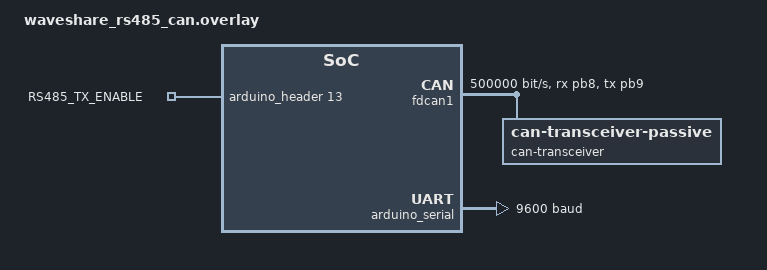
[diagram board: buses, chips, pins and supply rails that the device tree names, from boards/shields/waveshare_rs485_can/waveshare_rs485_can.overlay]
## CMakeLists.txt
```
cmake_minimum_required(VERSION 3.20.0)

# Sucht das Zephyr-System in der West-Arbeitsumgebung
find_package(Zephyr REQUIRED HINTS $ENV{ZEPHYR_BASE})
project(my_freestanding_uds_app)

# Quellcodedateien direkt im Projekt-Wurzelverzeichnis einbinden
target_sources(app PRIVATE 
    src/main.c 
    src/app_uds_impl.c
)
```

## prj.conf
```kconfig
# ====================================================================
# HARDWARE & INTERNE GERÄTE-TREIBER (STM32G474)
# ====================================================================
CONFIG_GPIO=y
CONFIG_CAN=y
CONFIG_REBOOT=y

# ====================================================================
# FLASH-SPEICHER & SPEICHERABSTRAKTION (Firmware-Update via 0x36)
# ====================================================================
CONFIG_FLASH=y
CONFIG_FLASH_PAGE_LAYOUT=y
CONFIG_FLASH_MAP=y

# ====================================================================
# MCUBOOT BOOTLOADER-INTEGRATION & IMAGE-MANAGEMENT
# ====================================================================
CONFIG_BOOTLOADER_MCUBOOT=y
CONFIG_IMG_MANAGER=y
CONFIG_MCUBOOT_IMG_MANAGER=y
CONFIG_STREAM_FLASH=y
CONFIG_MCUBOOT_BOOTUTIL_LIB=y

# ====================================================================
# KEY-VALUE STORAGE / NVS (Manipulationssicherer Lockout via KVSS)
# ====================================================================
CONFIG_FILE_SYSTEM=y
CONFIG_NVS=y

# ====================================================================
# UDS-SERVER MODUL INITIALISIERUNG & PARAMETER (Treiber-Kconfig)
# ====================================================================
CONFIG_UDS_SERVER=y
CONFIG_UDS_CAN_RX_ID=0x7E0
CONFIG_UDS_CAN_TX_ID=0x7E8
CONFIG_UDS_S3_TIMEOUT_MS=5000
CONFIG_ISOTP_RX_BUF_COUNT=4

# ====================================================================
# KERNEL LOGGING & DIAGNOSE (ST-Link Virtueller COM-Port)
# ====================================================================
CONFIG_LOG=y
CONFIG_CAN_LOG_LEVEL_DBG=y
```

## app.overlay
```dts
/ {
	chosen {
		zephyr,entropy = &rng;
	};
};

&rng {
	status = "okay";
};
```

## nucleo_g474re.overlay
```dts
/ {
    chosen {
        /* Weist dem zephyr-uds Modul den CAN-Controller zu */
        zephyr,canbus = &fdcan1;
    };
};

/* don't attach shield waveshare_rs485_can to nucleo G474re -> use jumper wires to connect PA11 and PA12! */

&pinctrl {
    /* FDCAN1 auf PB8 und PB9 legen (Alternate Function 9) */
    fdcan1_rx_pb8: fdcan1_rx_pb8 {
        pinmux = <STM32_PINMUX('B', 8, AF9)>; /* PB8 = FDCAN1_RX (D15) */
    };

    fdcan1_tx_pb9: fdcan1_tx_pb9 {
        pinmux = <STM32_PINMUX('B', 9, AF9)>; /* PB9 = FDCAN1_TX (D14) */
    };
};

&fdcan1{
    status = "okay";

    /* Zuweisung der modifizierten Pins */
    pinctrl-0 = <&fdcan1_tx_pb9 &fdcan1_rx_pb8>;
    pinctrl-names = "default";

    bus-speed = <500000>;

    /* Falls Sie kein CAN-FD nutzen, deaktivieren Sie die höhere Datenrate.
     * Sollten Sie CAN-FD nutzen wollen, aktivieren Sie diese Zeile: */
    /* bus-speed-data = <2000000>; */

    /* Optionale feine Bit-Timing-Einstellungen für das SN65HVD230 des Waveshare-Shields.
       Der Zephyr-Treiber berechnet diese Werte anhand des internen Taktes (meist 150MHz oder 170MHz beim G4)
       automatisch. Falls Sie Sample-Points manuell erzwingen müssen, nutzen Sie diese Eigenschaften: */
    sample-point = <800>; /* 80.0% Sample Point (Standard für CANopen/Automotive) */
};
```

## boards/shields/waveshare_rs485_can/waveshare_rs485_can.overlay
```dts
/* zephyr-uds-app/app/boards/shields/waveshare_rs485_can/waveshare_rs485_can.overlay */

/ {
    chosen {
        /* Weist dem zephyr-uds Modul den CAN-Controller zu */
        zephyr,canbus = &fdcan1;
    };

    /*
     * Kapselung des RS485-Richtungspins in einem separaten logischen Knoten,
     * um Konflikte mit dem st,stm32-usart Treiber-Binding zu vermeiden.
     */
    rs485_hardware_control {
        compatible = "gpio-keys";
        rs485_de: rs485_direction_enable {
            gpios = <&arduino_header 13 GPIO_ACTIVE_HIGH>; /* D7 (PA8) auf dem Nucleo */
            label = "RS485_TX_ENABLE";
        };
    };
};

/* 1. CAN-FD Controller Konfiguration */
&fdcan1 {
    status = "okay";
    pinctrl-0 = <&fdcan1_rx_pb8 &fdcan1_tx_pb9>;
    pinctrl-names = "default";
    bus-speed = <500000>; /* Standard-UDS Diagnosebitrate */

    /*
     * HIER DIE KORREKTUR:
     * Der erzwungene Kind-Knoten für den passiven Transceiver samt maximaler Bitrate.
     */
    can-transceiver {
        compatible = "can-transceiver-passive";
        max-bitrate = <1000000>; /* 1 Mbit/s Limit des Transceivers */
    };
};

/* 2. RS485 / UART Konfiguration */
&arduino_serial {
    status = "okay";
    current-speed = <9600>;
};
```

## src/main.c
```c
/*
 * Copyright (c) 2026 borob-engineering
 *
 * SPDX-License-Identifier: Apache-2.0
 */

/**
 * @file
 * @brief Application entry point and non-volatile storage initialization for the UDS ECU.
 */

#include <zephyr/kernel.h>
#include <zephyr/drivers/gpio.h>
#include <zephyr/drivers/flash.h>
#include <zephyr/storage/flash_map.h>
#include <zephyr/kvss/nvs.h>
#include <zephyr/logging/log.h>

LOG_MODULE_REGISTER(main, LOG_LEVEL_INF);

/* Resolve storage partition metadata from the active Devicetree context */
#define STORAGE_NODE       DT_NODELABEL(storage_partition)
#define STORAGE_DEV        DEVICE_DT_GET(DT_MTD_FROM_FIXED_PARTITION(STORAGE_NODE))
#define STORAGE_OFFSET     DT_REG_ADDR(STORAGE_NODE)
#define STORAGE_SIZE       DT_REG_SIZE(STORAGE_NODE)

/** @brief Global application managed Non-Volatile Storage (NVS) filesystem handle. */
struct nvs_fs app_nvs;

static const struct gpio_dt_spec led = GPIO_DT_SPEC_GET(DT_ALIAS(led0), gpios);

/* External module prototype from the UDS server subsystem */
extern int uds_init(void);

/**
 * @brief Main application thread initializing hardware layers and mounting local filesystems.
 */
int main(void)
{
	struct flash_pages_info page_info;
	int ret;

	LOG_INF("Starting UDS Application context...");

	/* 1. Configure the board status indicator LED */
	if (device_is_ready(led.port)) {
		(void)gpio_pin_configure_dt(&led, GPIO_OUTPUT_INACTIVE);
	} else {
		LOG_WRN("Status LED hardware port not ready or disabled.");
	}

	/* 2. Verify physical flash device hosting our storage partition layout */
	if (!device_is_ready(STORAGE_DEV)) {
		LOG_ERR("Kritischer Fehler: Flash-Hardware fuer Storage ist nicht bereit!");
		return -ENODEV;
	}

	app_nvs.flash_device = STORAGE_DEV;
	app_nvs.offset = STORAGE_OFFSET;

	/* 3. Extract exact page layout semantics at the allocated partition boundaries */
	ret = flash_get_page_info_by_offs(app_nvs.flash_device, app_nvs.offset, &page_info);
	if (ret != 0) {
		LOG_ERR("Kritischer Fehler: Kann Flash-Page-Geometrie nicht lesen: %d", ret);
		return ret;
	}

	app_nvs.sector_size = page_info.size;
	app_nvs.sector_count = STORAGE_SIZE / page_info.size;

	/* 4. Mount the global Key-Value Non-Volatile Storage structure */
	ret = nvs_mount(&app_nvs);
	if (ret != 0) {
		LOG_ERR("Kritischer Fehler: NVS-Dateisystem Mount fehlgeschlagen: %d", ret);
		return ret;
	}

	LOG_INF("NVS storage filesystem mounted successfully.");

	/* 5. Initialize the decoupled core UDS server thread layer */
	ret = uds_init();
	if (ret < 0) {
		LOG_ERR("Kritischer Fehler: UDS Server-Start fehlgeschlagen: %d", ret);
		return ret;
	}

	LOG_INF("UDS Core Subsystem successfully spawned in background context.");

	/* The main thread drops into low-power idling as network handlers utilize tasks */
	for (;;) {
		k_sleep(K_FOREVER);
	}

	return 0;
}
```

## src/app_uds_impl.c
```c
/*
 * Copyright (c) 2026 borob-engineering
 *
 * SPDX-License-Identifier: Apache-2.0
 */

/**
 * @file
 * @brief Production-ready application UDS interface implementation for Nucleo-G474RE.
 *
 * This file contains the concrete implementation of the weak driver execution hooks.
 * It integrates with Zephyr's NVS filesystem for permanent parameter tracking
 * and links into MCUboot for verified dual-bank firmware upgrades.
 */

#include <zephyr/canbus/uds_app_interface.h>
#include <zephyr/drivers/gpio.h>
#include <zephyr/drivers/flash.h>
#include <zephyr/kvss/nvs.h>
#include <zephyr/dfu/mcuboot.h>
#include <zephyr/logging/log.h>
#include <string.h>
#include <errno.h>

LOG_MODULE_REGISTER(app_uds, LOG_LEVEL_INF);

extern int boot_set_pending(int permanent);
extern void uds_trigger_event_response(uint8_t event_type, const uint8_t *payload, size_t len);
extern struct nvs_fs app_nvs; /* Globally managed NVS context from main.c */

#define DID_VIN         0xF190
#define DID_ENGINE_RPM  0x100A
#define DID_STATUS_LED  0x0123
#define RID_VERIFY_FW   0xFF01

#define STM32_FLASH_PAGE_SIZE 2048
#define STM32_WRITE_ALIGNMENT 8 
#define NVS_DTC_START_ID      0x0100
#define NVS_DTC_MAX_ENTRIES   16

static const struct gpio_dt_spec led = GPIO_DT_SPEC_GET(DT_ALIAS(led0), gpios);
static const struct device *flash_dev = DEVICE_DT_GET(DT_CHOSEN(zephyr_flash_controller));

static uint8_t app_vin[VIN_SIZE] = "NUCLEOG474UDS2026";
static bool led_overridden;
static uint32_t total_firmware_bytes;

static uint8_t write_page_buf[STM32_FLASH_PAGE_SIZE];
static uint32_t buf_idx;
static uint32_t flash_write_address;

/* --- BRÜCKEN-FUNKTIONEN ZUM ECHTEN TREIBER-SPEICHER (NVS) --- */

struct nvs_fs *uds_app_get_nvs_context(void)
{
	return &app_nvs;
}

int uds_app_clear_persistent_dtcs(struct nvs_fs *fs, uint32_t dtc_group)
{
	int i;
	int ret;

	if (fs == NULL) {
		return -EINVAL;
	}

	if (dtc_group == 0xFFFFFF) {
		for (i = 0; i < NVS_DTC_MAX_ENTRIES; i++) {
			ret = nvs_delete(fs, NVS_DTC_START_ID + i);
			if (ret != 0 && ret != -ENOENT) {
				LOG_ERR("Failed to delete NVS entry ID 0x%04X: %d", NVS_DTC_START_ID + i, ret);
				return -EIO;
			}
		}
		LOG_INF("All persistent diagnostic trouble codes cleared from NVS storage.");
		return 0;
	}

	return -ENOTSUP;
}

int uds_app_write_persistent_data(struct nvs_fs *fs, uint16_t nvs_id, const uint8_t *data, size_t len)
{
	int ret;

	if (fs == NULL || data == NULL || len == 0) {
		return -EINVAL;
	}

	ret = nvs_write(fs, nvs_id, data, len);
	if (ret < 0) {
		return ret;
	}

	return 0;
}

/* --- ERWEITERUNG 1: FREEZE FRAMES --- */
int uds_app_get_freeze_frame(uint32_t dtc, uint8_t record_num, uint8_t *data_out, size_t *len_out, size_t max_len)
{
	if (dtc == 0x123456 && record_num == 0x01) {
		if (max_len < 3) {
			return -ENOMEM;
		}
		data_out[0] = 0x09;
		data_out[1] = 0xC4;
		data_out[2] = 0x5A;
		*len_out = 3;
		return 0;
	}
	return -ENOENT;
}
/* --- ERWEITERUNG 2: ERWEITERTE KRYPTOGRAFIE --- */
int uds_app_verify_key_krypto(uint8_t security_level, const uint8_t *seed, size_t seed_len, const uint8_t *received_key, size_t key_len)
{
	uint32_t seed_val;
	uint32_t expected_key = 0;
	uint32_t rx_key;

	if (seed_len < 4 || key_len < 4) {
		return -EINVAL;
	}

	seed_val = ((uint32_t)seed[0] << 24) | ((uint32_t)seed[1] << 16) | ((uint32_t)seed[2] << 8) | seed[3];

	if (security_level == 1) {
		expected_key = seed_val ^ CONFIG_UDS_SEC_SECRET_MASK;
	} else if (security_level == 3) {
		expected_key = seed_val ^ 0xDEADBEEF;
	} else {
		return -EINVAL;
	}

	rx_key = ((uint32_t)received_key[0] << 24) | ((uint32_t)received_key[1] << 16) | ((uint32_t)received_key[2] << 8) | received_key[3];
	
	return (rx_key == expected_key) ? 0 : -EACCES;
}

/* --- ERWEITERUNG 3: PERIODISCHE SIGNALE --- */
int uds_app_get_periodic_did(uint8_t periodic_did, uint8_t *data_out, size_t *len_out)
{
	uint16_t rpm;

	if (periodic_did == 0xE1) {
		rpm = 2200 + (k_uptime_get_32() % 400);
		data_out[0] = (uint8_t)(rpm >> 8);
		data_out[1] = (uint8_t)(rpm & 0xFF);
		*len_out = 2;
		return 0;
	}
	return -ENOENT;
}

int uds_app_read_did(uint16_t did, uint8_t *data_out, size_t *len_out, size_t max_len)
{
	if (did == DID_VIN) {
		if (max_len < VIN_SIZE) {
			return -ENOMEM;
		}
		memcpy(data_out, app_vin, VIN_SIZE);
		*len_out = VIN_SIZE;
		return 0;
	}
	if (did == DID_ENGINE_RPM) {
		if (max_len < 2) {
			return -ENOMEM;
		}
		data_out[0] = 0x0B;
		data_out[1] = 0xB8; /* 3000 RPM */
		*len_out = 2;
		return 0;
	}
	return -ENOENT;
}

int uds_app_write_did(uint16_t did, const uint8_t *data_in, size_t len)
{
	if (did == DID_VIN) {
		if (len != VIN_SIZE) {
			return -EINVAL;
		}
		memcpy(app_vin, data_in, VIN_SIZE);
		return 0;
	}
	return -ENOENT;
}

int uds_app_io_control(uint16_t did, uint8_t control_param, const uint8_t *control_state, size_t state_len, uint8_t *status_out)
{
	uint8_t requested_state;

	if (!gpio_is_ready_dt(&led)) {
		return -EIO;
	}

	if (did == DID_STATUS_LED) {
		if (control_param == 0x00) { 
			led_overridden = false;
			(void)gpio_pin_set_dt(&led, 0);
			*status_out = 0;
			return 0;
		} else if (control_param == 0x03) { 
			if (state_len < 1 || control_state == NULL) {
				return -EINVAL;
			}
			led_overridden = true;
			requested_state = *control_state;
			(void)gpio_pin_set_dt(&led, (requested_state) ? 1 : 0);
			*status_out = requested_state;
			return 0;
		}
		return -EOPNOTSUPP;
	}
	return -ENOENT;
}

int uds_app_flash_erase_target(uint32_t address, size_t size)
{
	size_t aligned_size = size;

	if (!device_is_ready(flash_dev)) {
		return -ENODEV;
	}

	if (aligned_size % STM32_FLASH_PAGE_SIZE != 0) {
		aligned_size = ((aligned_size / STM32_FLASH_PAGE_SIZE) + 1) * STM32_FLASH_PAGE_SIZE;
	}

	total_firmware_bytes = size;
	flash_write_address = address;
	buf_idx = 0; 
	memset(write_page_buf, 0xFF, sizeof(write_page_buf));
	
	return flash_erase(flash_dev, address, aligned_size);
}

int uds_app_flash_write_block(uint32_t address_offset, const uint8_t *data, size_t len)
{
	size_t data_idx = 0;
	int ret;

	ARG_UNUSED(address_offset);

	if (!device_is_ready(flash_dev)) {
		return -ENODEV;
	}

	while (data_idx < len) {
		write_page_buf[buf_idx++] = data[data_idx++];
		if (buf_idx >= STM32_FLASH_PAGE_SIZE) {
			ret = flash_write(flash_dev, flash_write_address, write_page_buf, STM32_FLASH_PAGE_SIZE);
			if (ret != 0) {
				return ret;
			}
			flash_write_address += STM32_FLASH_PAGE_SIZE;
			buf_idx = 0;
			memset(write_page_buf, 0xFF, sizeof(write_page_buf)); 
		}
	}
	return 0;
}

int uds_app_routine_start(uint16_t routine_id, uint8_t *info_out)
{
	size_t flash_rest_len;
	int ret;

	if (routine_id == RID_VERIFY_FW) {
		if (buf_idx > 0) {
			flash_rest_len = buf_idx;
			if (flash_rest_len % STM32_WRITE_ALIGNMENT != 0) {
				flash_rest_len = ((flash_rest_len / STM32_WRITE_ALIGNMENT) + 1) * STM32_WRITE_ALIGNMENT;
			}
			ret = flash_write(flash_dev, flash_write_address, write_page_buf, flash_rest_len);
			if (ret != 0) {
				*info_out = 0x02;
				return -EIO;
			}
			buf_idx = 0;
		}

		ret = boot_set_pending(0);
		if (ret != 0) {
			*info_out = 0x02;
			return -EIO;
		}

		LOG_INF("MCUboot: System successfully prepared for dual-bank image swap sequence.");
		*info_out = 0x01;
		return 0;
	}
	return -ENOENT;
}

int uds_app_routine_request_results(uint16_t routine_id, uint8_t *status_out, uint8_t *exit_info_out)
{
	if (routine_id == RID_VERIFY_FW) {
		*status_out = 0x00;
		*exit_info_out = 0x00;
		return 0;
	}
	return -ENOENT;
}

/* --- NEU: ERWEITERUNG 5: READ SCALING DATA BY IDENTIFIER (Service 0x24) --- */
int uds_app_read_scaling_data(uint16_t did, uint8_t *buf_out, size_t *len_out, size_t max_len)
{
	if (did == DID_ENGINE_RPM) {
		if (max_len < 7) {
			return -ENOMEM;
		}
		/* ISO 14229-1 linear scaling layout: y = (a * x) + b */
		buf_out[0] = 0x01; /* ScalingByte: 0x01 means linear formula identifier */
		buf_out[1] = 0x00; /* Coefficient 'a' Multiplier High Byte (value = 1) */
		buf_out[2] = 0x01; /* Coefficient 'a' Multiplier Low Byte */
		buf_out[3] = 0x00; /* Coefficient 'a' Divisor High Byte    (value = 1) */
		buf_out[4] = 0x01; /* Coefficient 'a' Divisor Low Byte */
		buf_out[5] = 0x00; /* Coefficient 'b' Offset High Byte     (value = 0) */
		buf_out[6] = 0x00; /* Coefficient 'b' Offset Low Byte */
		
		*len_out = 7;
		return 0;
	}
	return -ENOENT;
}
```
